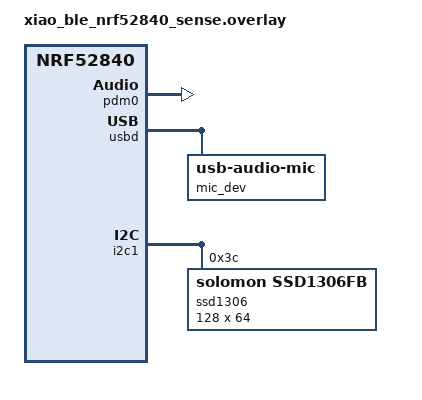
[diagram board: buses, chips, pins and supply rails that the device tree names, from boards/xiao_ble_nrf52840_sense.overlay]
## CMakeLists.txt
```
cmake_minimum_required(VERSION 3.20.0)

find_package(Zephyr HINTS $ENV{ZEPHYR_BASE})

set(CMAKE_EXPORT_COMPILE_COMMANDS ON)

project(nrfmic)

file(GLOB SOURCES "src/*.c")

target_sources(app PRIVATE ${SOURCES})
target_include_directories(app PRIVATE ${CMAKE_CURRENT_SOURCE_DIR}/include)
```

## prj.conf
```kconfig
# CONFIG_CPP=y
# CONFIG_STD_CPP2B=y
# CONFIG_MINIMAL_LIBCPP=y
# CONFIG_REQUIRES_FULL_LIBCPP=y

# Enable LTO to decrease the flash usage.
# CONFIG_LTO=y
# CONFIG_ISR_TABLES_LOCAL_DECLARATION=y

CONFIG_AUDIO=y
CONFIG_AUDIO_DMIC=y
CONFIG_AUDIO_DMIC_NRFX_PDM=y

CONFIG_USB_DEVICE_STACK=y
CONFIG_USB_DEVICE_PRODUCT="nrf USB Mic"
CONFIG_USB_DEVICE_MANUFACTURER="Cafe"
CONFIG_USB_DEVICE_VID=0xCAFE
CONFIG_USB_DEVICE_PID=0x0001

CONFIG_USB_DEVICE_AUDIO=y

CONFIG_USB_DEVICE_INITIALIZE_AT_BOOT=n

CONFIG_NET_BUF=y

CONFIG_MAIN_STACK_SIZE=1024

CONFIG_CMSIS_DSP=y
CONFIG_CMSIS_DSP_BASICMATH=y
CONFIG_CMSIS_DSP_COMPLEXMATH=y
CONFIG_CMSIS_DSP_FASTMATH=y
CONFIG_CMSIS_DSP_STATISTICS=y
CONFIG_CMSIS_DSP_LOOPUNROLL=y
CONFIG_CMSIS_DSP_TRANSFORM=y

CONFIG_FPU=y

# display
CONFIG_DISPLAY=y
CONFIG_SSD1306=y
# CONFIG_DISPLAY_LOG_LEVEL_DBG=y

# debug
CONFIG_LOG=y
CONFIG_LOG_BACKEND_UART=y
# CONFIG_LOG_DEFAULT_LEVEL=3
# CONFIG_USE_SEGGER_RTT=y
#SHELL is a log backend, so use SHELL_BACKEND instead
#CONFIG_LOG_BACKEND_RTT=y
# You may also want to enable the shell for interactive commands
# CONFIG_SHELL=y
# CONFIG_SHELL_BACKEND_SERIAL=y

# Enable detailed debugging information
CONFIG_DEBUG_INFO=y
CONFIG_DEBUG_THREAD_INFO=y
CONFIG_EXCEPTION_DEBUG=y
CONFIG_EXTRA_EXCEPTION_INFO=y

CONFIG_ASSERT=y
CONFIG_ARM_MPU=y
CONFIG_HW_STACK_PROTECTION=y

# CONFIG_INIT_STACKS=y

# Enable stack sentinel to detect stack overflows
# CONFIG_STACK_SENTINEL=y

# Enable thread name assertions
# CONFIG_ASSERT=y
# CONFIG_ASSERT_VERBOSE=y
```

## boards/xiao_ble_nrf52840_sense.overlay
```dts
dmic_dev: &pdm0 {
    status = "okay";
};

pdm_mic_regulator: &{/msm261d3526hicpm-c-en} {
    regulator-boot-on;
};

&usbd {
    num-isoin-endpoints = <0x02>;
    mic_dev: usb-audio-mic {
        compatible = "usb-audio-mic";
        channel-l;
        feature-mute;
        feature-volume;
        resolution = <16>;
        sample-rate-hz = <16000>;
    };
};

&{/chosen} {
    zephyr,console = &xiao_serial;
    zephyr,shell-uart = &xiao_serial;
};

&i2c1 {
    ssd1306: ssd1306@3c {
        compatible = "solomon,ssd1306fb";
        reg = <0x3c>;
        width = <128>;
        height = <64>;
        segment-offset = <0>;
        page-offset = <0>;
        display-offset = <0>;
        multiplex-ratio = <63>;
        prechargep = <0x22>;
        status = "okay";
    };
};
```

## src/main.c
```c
#include "arm_math_types.h"
#include "zephyr/fatal_types.h"
#include "zephyr/sys/__assert.h"
#include <zephyr/kernel.h>
#include <zephyr/net_buf.h>
#include <zephyr/sys/byteorder.h>
#include <zephyr/audio/dmic.h>
#include <zephyr/usb/usb_device.h>
#include <zephyr/usb/class/usb_audio.h>
#include <zephyr/drivers/regulator.h>
#include <zephyr/drivers/display.h>

#include <zephyr/logging/log.h>
LOG_MODULE_REGISTER(dmic_sample, LOG_LEVEL_DBG);

#include <hal/nrf_pdm.h>

#include <dsp/statistics_functions.h>

#include <melvis.h>

#define MAX_SAMPLE_RATE  16000
#define SAMPLE_BIT_WIDTH 16
#define BYTES_PER_SAMPLE sizeof(int16_t)
/* Milliseconds to wait for a block to be read. */
#define READ_TIMEOUT     10

/* Size of a block for 100 ms of audio data. */
#define BLOCK_SIZE(_sample_rate, _number_of_channels) \
	(BYTES_PER_SAMPLE * (_sample_rate / 1000) * _number_of_channels)

/* Driver will allocate blocks from this slab to receive audio data into them.
 * Application, after getting a given block from the driver and processing its
 * data, needs to free that block.
 */
#define MAX_BLOCK_SIZE   BLOCK_SIZE(MAX_SAMPLE_RATE, 1)
#define BLOCK_COUNT      16

K_MEM_SLAB_DEFINE_STATIC(mem_slab, MAX_BLOCK_SIZE, BLOCK_COUNT, 4);

NET_BUF_POOL_DEFINE(audio_buf_pool, 4, MAX_BLOCK_SIZE, 0, NULL);

static const struct device *const usb_audio_mic = DEVICE_DT_GET(DT_NODELABEL(mic_dev));
static const struct device *const dmic_dev = DEVICE_DT_GET(DT_NODELABEL(dmic_dev));

static int16_t  mic_volume = 100;
static bool     mic_muted  = false;
static int      data_dropped = 0;
static int      data_received = 0;
static int      data_sent = 0;
static int16_t  data_min = 0;
static int16_t  data_max = 0;
static int16_t  data_avg = 0;
static size_t   data_len = 0;
static int16_t  data_fst = 0;

K_MSGQ_DEFINE(audio_data_msgq, sizeof(struct net_buf*), 1, 4);
K_MSGQ_DEFINE(audio_process_msgq, sizeof(struct net_buf*), 8, 4);

K_SEM_DEFINE(read_pdm_mic_start_sem, 0, 1);

void stats_buffer(void *buffer, size_t len, int16_t *min, int16_t *max, int16_t *avg);

void read_pdm_mic_thread_func() {
    k_sem_take(&read_pdm_mic_start_sem, K_FOREVER);
    LOG_INF("Starting read PDM mic thread");
    int ret = 0;

    ret = dmic_trigger(dmic_dev, DMIC_TRIGGER_START);
    if (ret != 0) {
        LOG_ERR("Failed to start DMIC: %d", ret);
        return;
    }

    void *buffer = NULL;
    struct net_buf *data = NULL;
    size_t buffer_size = 0;
    while (true) {
        ret = dmic_read(dmic_dev, 0, &buffer, &buffer_size, READ_TIMEOUT);
        if (ret < 0) {
            LOG_ERR("Failed to read audio data: %d", ret);
            break;
        }
        // stats
        data_len = buffer_size;
        data_fst = UNALIGNED_GET((int16_t *)buffer);
        stats_buffer(buffer, buffer_size, &data_min, &data_max, &data_avg);
        data_received++;
        // send usb mic data
        data = net_buf_alloc(&audio_buf_pool, K_NO_WAIT);
        if (!data) {
            LOG_ERR("Failed to allocate audio buffer");
            break;
        }
        net_buf_add_mem(data, buffer, buffer_size);

        while (k_msgq_put(&audio_data_msgq, &data, K_NO_WAIT) != 0) {
            struct net_buf *old = NULL;
            k_msgq_get(&audio_data_msgq, &old, K_NO_WAIT);
            if (old) {
                net_buf_unref(old);
                data_dropped++;
            }
        }
        // send mel spec processing data
        melvis_on_audio_data(buffer, buffer_size / sizeof(int16_t));
        k_mem_slab_free(&mem_slab, buffer);
    }
}

K_THREAD_DEFINE(read_pdm_mic_thread, 1024, read_pdm_mic_thread_func, NULL, NULL, NULL,
                    K_PRIO_PREEMPT(7), 0, 0);

void print_stats_thread_func() {
    while (true) {
        k_sleep(K_SECONDS(10));
        LOG_INF("Audio data, dropped: %d, received: %d,"
                " sent: %d, min: %d, max: %d, avg: %d, len: %d, fst: %d",
                data_dropped, data_received,
                data_sent, data_min, data_max, data_avg, data_len, data_fst);
    }
}

K_THREAD_DEFINE(print_stats_thread, 512, print_stats_thread_func, NULL, NULL, NULL,
                    K_PRIO_PREEMPT(8), 0, 0);

int init_dmic(const struct device *const dev) {
    int ret = 0;
    // Initialize the digital microphone
    if (!device_is_ready(dmic_dev)) {
        LOG_ERR("%s is not ready", dmic_dev->name);
        return -1;
    }

	struct pcm_stream_cfg stream = {
		.pcm_width = SAMPLE_BIT_WIDTH,
		.mem_slab  = &mem_slab,
	};
	struct dmic_cfg cfg = {
		.io = {
			/* These fields can be used to limit the PDM clock
			 * configurations that the driver is allowed to use
			 * to those supported by the microphone.
			 */
			.min_pdm_clk_freq = 1100000,
			.max_pdm_clk_freq = 3500000,
			.min_pdm_clk_dc   = 40,
			.max_pdm_clk_dc   = 60,
		},
		.streams = &stream,
		.channel = { },
	};

	cfg.channel.req_num_chan = 1;
	cfg.channel.req_num_streams = 1;
    // according to spec, MIC L/R is connected to GND
    // sample data on rising edge
    // and this configures nrf pdm as such
	cfg.channel.req_chan_map_lo =
		dmic_build_channel_map(0, 0, PDM_CHAN_RIGHT);
	cfg.streams[0].pcm_rate   = MAX_SAMPLE_RATE;
	cfg.streams[0].pcm_width  = 16;
	cfg.streams[0].block_size =
		BLOCK_SIZE(cfg.streams[0].pcm_rate, cfg.channel.req_num_chan);
    if (ret != 0) {
        LOG_ERR("Failed to enable mic regulator: %d", ret);
        return ret;
    }
    ret = dmic_configure(dmic_dev, &cfg);
    if (ret != 0) {
        LOG_ERR("Failed to configure DMIC: %d", ret);
        return ret;
    }
    nrf_pdm_gain_set(NRF_PDM0, 0x50, 0x50);
    k_sem_give(&read_pdm_mic_start_sem);
    LOG_INF("DMIC dev initialized");
    return ret;
}

static void feature_update(const struct device *dev, const struct usb_audio_fu_evt *evt);

void send_audio_data(const struct device *dev);

static const struct usb_audio_ops mic_ops = {
    .data_request_cb = send_audio_data,
    .feature_update_cb = feature_update,
};

int init_usb_audio_mic(const struct device *const dev) {
    if (!device_is_ready(usb_audio_mic)) {
        LOG_ERR("USB audio microphone device not ready");
        return -1;
    }

    usb_audio_register(usb_audio_mic, &mic_ops);

    LOG_INF("USB audio microphone initialized successfully");
    return 0;
}

static void feature_update(const struct device *dev,
			   const struct usb_audio_fu_evt *evt)
{
	LOG_DBG("Control selector %d for channel %d updated",
		evt->cs, evt->channel);
	switch (evt->cs) {
	case USB_AUDIO_FU_MUTE_CONTROL:
        mic_muted = UNALIGNED_GET((bool *)evt->val);
        LOG_INF("set mute: %s", mic_muted ? "true" : "false");
		break;
	case USB_AUDIO_FU_VOLUME_CONTROL:
		mic_volume = UNALIGNED_GET((int16_t *)evt->val);
		LOG_INF("set volume: %d", mic_volume);
		break;
	default:
		break;
	}
}

void send_audio_data(const struct device *dev) {
    struct net_buf *buf = NULL;
    int ret = 0;
    // size_t frame_size = usb_audio_get_in_frame_size(usb_audio_mic);
    k_msgq_get(&audio_data_msgq, &buf, K_FOREVER);
    ret = usb_audio_send(usb_audio_mic, buf, buf->len);
    if (ret < 0) {
        LOG_ERR("Failed to send audio data: %d", ret);
        goto cleanup;
    }
    data_sent++;
cleanup:
    if (buf) {
        net_buf_unref(buf);
    }
}

void stats_buffer(void *buffer, size_t len, int16_t *min, int16_t *max, int16_t *avg) {
    int16_t *p = (int16_t *)buffer;
    size_t n = len / sizeof(int16_t);
    size_t _idx;
    arm_max_q15(p, n, max, &_idx);
    arm_min_q15(p, n, min, &_idx);
    arm_mean_q15(p, n, avg);
}

int main() {
    LOG_INF("nrf USB MIC!");
    int ret;

    ret = init_dmic(dmic_dev);
    if (ret < 0) {
        LOG_ERR("Failed to initialize DMIC: %d", ret);
        return ret;
    }

    ret = init_usb_audio_mic(usb_audio_mic);
    if (ret < 0) {
        LOG_ERR("Failed to initialize USB audio mic: %d", ret);
        return ret;
    }

    ret = usb_enable(NULL);
    if (ret != 0) {
        LOG_ERR("Failed to enable USB: %d", ret);
        return ret;
    }

    LOG_INF("Initialization completed");
    return 0;
}
```

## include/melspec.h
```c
#ifndef _MELSPEC_H
#define _MELSPEC_H

#include <stdint.h>
#include <dsp/transform_functions.h>

#define MELSPEC_MEL_SIZE 32
#define MELSPEC_FFT_SIZE 512

typedef struct melspec {
  float32_t gain;
  float32_t *buffer;
  size_t capacity;
  size_t size;
  arm_rfft_fast_instance_f32 rfft_inst;
  float32_t fft_result[MELSPEC_FFT_SIZE];
  float32_t power_spectrum[MELSPEC_FFT_SIZE/2];
  size_t mel_filterbank_indices[MELSPEC_MEL_SIZE * 3];
  float32_t mel_filterbank_values[MELSPEC_FFT_SIZE * 2];
  float32_t mel_spectrum[MELSPEC_MEL_SIZE];
} melspec_t;

int melspec_init(melspec_t *mel, float32_t gain, int sample_rate, float32_t *buf, size_t buf_size);
void melspec_put(melspec_t *mel, int16_t *data, size_t data_size);
int melspec_get_size(melspec_t *mel);
void melspec_shift(melspec_t *mel, size_t stride);
size_t melspec_get_mel_size(melspec_t *mel);
void melspec_process(melspec_t *mel);
size_t melspec_get_mel_spectrum_size(melspec_t *mel);
float32_t* melspec_get_mel_spectrum(melspec_t *mel);

#endif /* _MELSPEC_H */
```

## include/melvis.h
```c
#ifndef MELVIS_H
#define MELVIS_H

#include <stdint.h>

void melvis_on_audio_data(int16_t *data, size_t size);

#endif /* MELVIS_H */
```

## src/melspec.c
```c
#include <string.h>
#include <math.h>
#include <dsp/transform_functions.h>
#include <dsp/complex_math_functions.h>
#include <dsp/basic_math_functions.h>
#include <dsp/fast_math_functions.h>

#include <melspec.h>

#define PASTER(prefix, size, suffix) prefix##size##suffix
#define EVALUATOR(prefix, size, suffix) PASTER(prefix, size, suffix)
#define MELSPEC_FFT_INIT_FN EVALUATOR(arm_rfft_fast_init_, MELSPEC_FFT_SIZE, _f32)

// --- Helper Functions for Mel Scale Conversion ---
static float32_t hz_to_mel(float32_t hz) {
    return 2595.0f * log10f(1.0f + hz / 700.0f);
}

static float32_t mel_to_hz(float32_t mel) {
    return 700.0f * (powf(10.0f, mel / 2595.0f) - 1.0f);
}

/**
 * @brief Generates the Mel filterbank weights. Call this once at initialization.
 */
static void create_mel_filterbank(size_t num_mels, size_t fft_size, int sample_rate,
                                  size_t* filter_indices, float32_t *filter_values
                                  ) {
  float32_t min_mel = hz_to_mel(0);
  float32_t max_mel = hz_to_mel(sample_rate / 2);
  float32_t mel_step = (max_mel - min_mel) / (num_mels + 1);

  // the triangle vertex bins
  size_t right_fft_bin = 0;
  size_t center_fft_bin = 0;
  size_t left_fft_bin = 0;
  size_t val_i = 0;

  float32_t mel_point;
  float32_t hz_point = 0.0f;
  for (int i = 0; i < num_mels + 2; i++) {
    mel_point = min_mel + i * mel_step;
    hz_point = mel_to_hz(mel_point);
    right_fft_bin = (size_t)floorf((fft_size + 1) * hz_point / sample_rate);
    // Create the triangular filters
    if (i >= 2) {
      filter_indices[(i-2)*3] = left_fft_bin;
      filter_indices[(i-2)*3+1] = right_fft_bin;
      filter_indices[(i-2)*3+2] = val_i;
      for (size_t j = left_fft_bin; j < center_fft_bin; j++) {
        filter_values[val_i++] = (float32_t)(j - left_fft_bin) / (center_fft_bin - left_fft_bin);
      }
      for (size_t j = center_fft_bin; j < right_fft_bin; j++) {
        filter_values[val_i++] = (float32_t)(right_fft_bin - j) / (right_fft_bin - center_fft_bin);
      }
    }
    left_fft_bin = center_fft_bin;
    center_fft_bin = right_fft_bin;
  }
}

int melspec_init(melspec_t *mel, float32_t gain, int sample_rate, float32_t *buf, size_t buf_size) {
  int res = 0;
  if (buf_size < MELSPEC_FFT_SIZE) {
    return -1;
  }
  mel->gain = gain;
  mel->buffer = buf;
  mel->capacity = buf_size;
  mel->size = 0;
  arm_rfft_fast_init_f32(&mel->rfft_inst, MELSPEC_FFT_SIZE);
  res = MELSPEC_FFT_INIT_FN(&mel->rfft_inst);
  if (res) {
    return res;
  }
  create_mel_filterbank(MELSPEC_MEL_SIZE, MELSPEC_FFT_SIZE, sample_rate,
                        mel->mel_filterbank_indices, mel->mel_filterbank_values);
  return res;
}

void melspec_put(melspec_t *mel, int16_t *data, size_t data_size) {
  if (mel->size + data_size > mel->capacity) {
    // some drop is required
    if (data_size >= mel->capacity) {
      // shrink input to the right
      data += data_size - mel->capacity;
      data_size = mel->capacity;
      // clear buffer
      mel->size = 0;
    } else {
      // need to shift left
      size_t shift = mel->size - (mel->capacity - data_size);
      melspec_shift(mel, shift);
    }
  }
  // copy data
  float32_t *p = mel->buffer + mel->size;
  for (size_t i = 0; i < data_size; i++) {
    p[i] = (float32_t)data[i] * mel->gain / (float32_t)(0x4000);
  }
  mel->size += data_size;
}

int melspec_get_size(melspec_t *mel) {
  return mel->size;
}

void melspec_shift(melspec_t *mel, size_t stride) {
  stride = stride < mel->size ? stride : mel->size;
  if (stride < mel->size) {
    memmove(mel->buffer, mel->buffer + stride, sizeof(float32_t) * (mel->size - stride));
  }
  mel->size = mel->size - stride;
}

void melspec_process(melspec_t *mel) {
  // 1. fft
  arm_rfft_fast_f32(&mel->rfft_inst, mel->buffer, mel->fft_result, 0);
  // 2. power spectra
  arm_cmplx_mag_f32(mel->fft_result, mel->power_spectrum, MELSPEC_FFT_SIZE / 2);
  arm_mult_f32(mel->power_spectrum, mel->power_spectrum, mel->power_spectrum, MELSPEC_FFT_SIZE / 2);
  // 3. apply mel filterbank
  for (size_t i = 0; i < MELSPEC_MEL_SIZE; i++) {
    size_t s = mel->mel_filterbank_indices[i*3];
    size_t e = mel->mel_filterbank_indices[i*3+1];
    size_t b = mel->mel_filterbank_indices[i*3+2];
    arm_dot_prod_f32(&mel->mel_filterbank_values[b], &mel->power_spectrum[s], e - s, &mel->mel_spectrum[i]);
  }
  // 4. to decibel
  arm_vlog_f32(mel->mel_spectrum, mel->mel_spectrum, MELSPEC_MEL_SIZE);
  arm_scale_f32(mel->mel_spectrum, 10.0f / logf(10.0f), mel->mel_spectrum, MELSPEC_MEL_SIZE);
}

size_t melspec_get_mel_spectrum_size(melspec_t *mel) {
  return MELSPEC_MEL_SIZE;
}

float32_t* melspec_get_mel_spectrum(melspec_t *mel) {
  return mel->mel_spectrum;
}
```

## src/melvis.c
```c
/**
 * simple shapes drawing
 */

#include <stdint.h>

struct pixel_buffer {
    uint8_t *buf;
};

struct shape {

};
```
